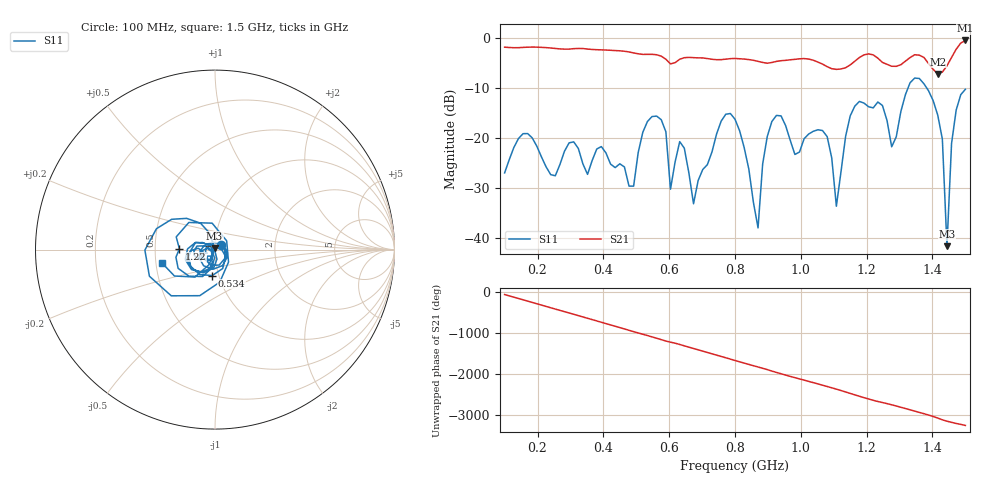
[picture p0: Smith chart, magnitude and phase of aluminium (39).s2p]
! NanoVNA-App
! Date: 2025-09-26 09:58:22
! Start: 100MHz Stop: 1,5GHz Points: 101
! S-Parameter data: F S11 S21 S12 S22
# Hz S RI R 50
!  Frequency  S11_Real  S11_Imag  S21_Real  S21_Imag  S12_Real  S12_Imag  S22_Real  S22_Imag
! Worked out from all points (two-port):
!   101 points, 100 MHz to 1.5 GHz, reference 50 ohm
!   highest |S21| = -0.57 dB at 1.5 GHz (marker M1); lowest = -7.3 dB at 1.416 GHz (marker M2)
!   |S21| within 3 dB of the highest: start of sweep to 569.3 MHz; 1.189 GHz to 1.223 GHz (33.91 MHz wide, 2.81 % of centre) (the widest 2 of 4)
!   lowest |S11| = -41.6 dB at 1.444 GHz (marker M3), VSWR 1.02, Z = 49.8 + j0.795 ohm
!   |S11| at or under -10 dB: start of sweep to 1.326 GHz; 1.382 GHz to end of sweep
!   S12 and S22 are empty: the file has one direction only
!   S11 on the Smith chart (normalised r, x): 100 MHz: 1.07, +0.06; 534 MHz: 0.93, -0.28; 1.22 GHz: 0.67, +0.01; 1.5 GHz: 0.54, -0.09
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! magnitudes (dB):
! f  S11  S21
! 100 MHz  -27.0  -1.9
! 338 MHz  -25.2  -2.2
! 492 MHz  -29.7  -3.1
! 534 MHz  -16.7  -3.3
! 576 MHz  -16.4  -3.7
! 604 MHz  -30.3  -5.3
! 632 MHz  -20.8  -4.3
! 674 MHz  -33.2  -4.0
! 800 MHz  -16.3  -4.2
! 870 MHz  -38.0  -4.7
! 912 MHz  -16.7  -5.0
! 1.038 GHz  -18.7  -4.5
! 1.108 GHz  -33.7  -6.3
! 1.15 GHz  -15.6  -5.5
! 1.22 GHz  -14.0  -3.5
! 1.276 GHz  -21.8  -5.7
! 1.346 GHz  -8.1  -3.4
! 1.416 GHz  -15.5  -7.3
! 1.43 GHz  -20.3  -6.9
! 1.444 GHz  -41.6  -5.6
! 1.458 GHz  -21.1  -4.0
! 1.5 GHz  -10.3  -0.6
